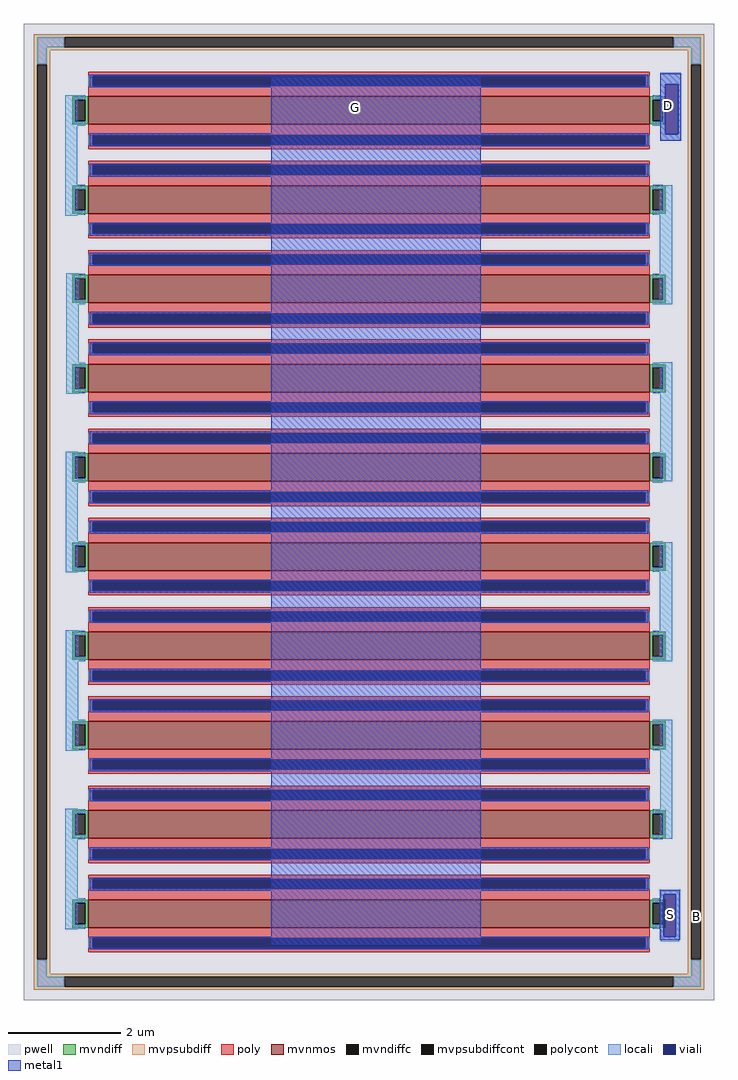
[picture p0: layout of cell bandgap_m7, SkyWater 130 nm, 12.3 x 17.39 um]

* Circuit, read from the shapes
.subckt bandgap_m7 D G S B
XM1 S G n1 VSUBS sky130_fd_pr__nfet_g5v0d10v5 w=0.5 l=10
XM2 n2 G n1 VSUBS sky130_fd_pr__nfet_g5v0d10v5 w=0.5 l=10
XM3 n2 G n3 VSUBS sky130_fd_pr__nfet_g5v0d10v5 w=0.5 l=10
XM4 n4 G n3 VSUBS sky130_fd_pr__nfet_g5v0d10v5 w=0.5 l=10
XM5 n4 G n5 VSUBS sky130_fd_pr__nfet_g5v0d10v5 w=0.5 l=10
XM6 n6 G n5 VSUBS sky130_fd_pr__nfet_g5v0d10v5 w=0.5 l=10
XM7 n6 G n7 VSUBS sky130_fd_pr__nfet_g5v0d10v5 w=0.5 l=10
XM8 n8 G n7 VSUBS sky130_fd_pr__nfet_g5v0d10v5 w=0.5 l=10
XM9 n8 G n9 VSUBS sky130_fd_pr__nfet_g5v0d10v5 w=0.5 l=10
XM10 D G n9 VSUBS sky130_fd_pr__nfet_g5v0d10v5 w=0.5 l=10
.ends

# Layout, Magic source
magic
tech sky130A
magscale 1 2
<< locali >>
rect -2243 2144 -2169 2184
rect -4363 1674 -4319 2104
rect -2243 1966 -2224 2144
rect -2178 1966 -2169 2144
rect -2243 1944 -2169 1966
rect -4358 1040 -4314 1470
rect -2244 1360 -2200 1784
rect -4361 404 -4317 834
rect -2243 728 -2199 1152
rect -4360 -232 -4316 198
rect -2244 88 -2200 512
rect -4362 -868 -4318 -438
rect -2243 -546 -2199 -122
rect -2240 -744 -2174 -730
rect -2240 -894 -2230 -744
rect -2186 -894 -2174 -744
rect -2240 -910 -2174 -894
<< viali >>
rect -2224 1966 -2178 2144
rect -2230 -894 -2186 -744
<< metal1 >>
rect -3628 -924 -2882 2168
rect -2242 2144 -2168 2180
rect -2242 1966 -2224 2144
rect -2178 1966 -2168 2144
rect -2242 1942 -2168 1966
rect -2244 -744 -2170 -728
rect -2244 -894 -2230 -744
rect -2186 -894 -2170 -744
rect -2244 -906 -2170 -894
use sky130_fd_pr__nfet_g5v0d10v5_4GJ86D  sky130_fd_pr__nfet_g5v0d10v5_4GJ86D_0
transform 1 0 -3280 0 1 619
box -1230 -1739 1230 1739
<< labels >>
flabel viali -2214 2066 -2214 2066 0 FreeSans 800 0 0 0 D
port 0 nsew
flabel viali -2204 -816 -2204 -816 0 FreeSans 800 0 0 0 S
port 2 nsew
flabel space -2114 -822 -2114 -822 0 FreeSans 800 0 0 0 B
port 3 nsew
flabel metal1 -3328 2060 -3328 2060 0 FreeSans 800 0 0 0 G
port 1 nsew
<< end >>

# cell sky130_fd_pr__nfet_g5v0d10v5_4GJ86D: kit device sky130_fd_pr__nfet_g5v0d10v5, w 0.5 l 10 m 10 nf 1 diffcov 100 polycov 100 guard 1 glc 1 grc 1 gtc 1 gbc 1 tbcov 100 rlcov 100 topc 1 botc 1 poverlap 0 doverlap 1 lmin 0.50 wmin 0.42 class mosfet compatible {sky130_fd_pr__nfet_01v8 sky130_fd_pr__nfet_01v8_lvt sky130_fd_bs_flash__special_sonosfet_star sky130_fd_pr__nfet_g5v0d10v5 sky130_fd_pr__nfet_05v0_nvt sky130_fd_pr__nfet_03v3_nvt} full_metal 1 conn_gates 0 viasrc 100 viadrn 100 viagate 100 viagb 0 viagr 0 viagl 0 viagt 0 doports 1
